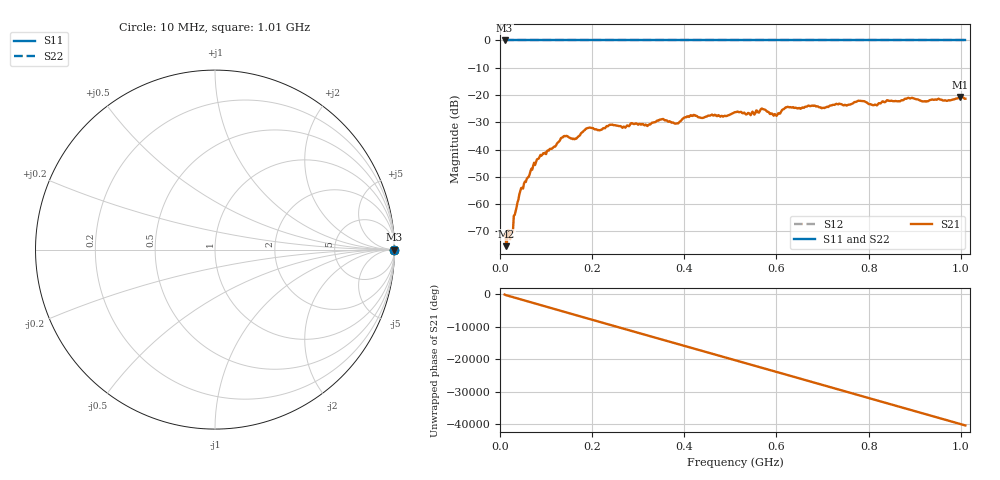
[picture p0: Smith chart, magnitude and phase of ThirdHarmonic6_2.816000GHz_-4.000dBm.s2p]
! 8/17/2025 7:25:21 AM
! C:\ANRITSUVNA\TEMP\TEMP.S2P
! CHANNEL.1
! TR.MEASUREMENT
! RAW.DATA
! RF.CORRECTION.OFF
! AVERAGING.OFF
! IF.BANDWIDTH: 5KHZ
! SWEEPTYPE:  FREQ.SWEEP(Linear)
! Reference Plane Port Info
! PORT:  PORT1  PORT2
! DISTANCE:  0  m  0  m
! TIME:  0  s  0  s
! PHASE.OFFSET:  0  deg.  0  deg.
! LOSS:  0  dB  0  dB
! REF.LOSS:  0  dB  0  dB
! REF.FREQ:  0  Hz  0  Hz
! Power Info
! POWER:  -20  dBm  -20  dBm
! EFF.POWER:  -20  dBm  -20  dBm
! SOURCE.ATTEN:  0  dB  0  dB
! TEST.ATTEN:  0  dB  0  dB
# GHZ S RI R 50.0
! FREQ.GHZ  S11RE  S11IM  S21RE  S21IM  S12RE  S12IM  S22RE  S22IM
!; PortSelection: Port_12
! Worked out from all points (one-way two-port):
!   501 points, 10 MHz to 1.01 GHz, reference 50 ohm
!   highest |S21| = -20.73 dB at 998 MHz (marker M1); lowest = -75.4 dB at 14 MHz (marker M2)
!   lowest |S11| = 0.0 dB at 10 MHz (marker M3)
!   |S11| at or under -10 dB: nowhere
!   |S22| runs from 0.0 to 0.0 dB; largest |S21 - S12| = 1.1
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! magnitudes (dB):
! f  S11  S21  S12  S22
! 10 MHz  0.0  -71.0  0.0  0.0
! 14 MHz  0.0  -75.4  0.0  0.0
! 24 MHz  0.0  -69.8  0.0  0.0
! 44 MHz  0.0  -55.2  0.0  0.0
! 84 MHz  0.0  -43.3  0.0  0.0
! 136 MHz  0.0  -35.6  0.0  0.0
! 162 MHz  0.0  -36.2  0.0  0.0
! 178 MHz  0.0  -33.7  0.0  0.0
! 192 MHz  0.0  -32.1  0.0  0.0
! 322 MHz  0.0  -31.0  0.0  0.0
! 344 MHz  0.0  -29.4  0.0  0.0
! 384 MHz  0.0  -30.4  0.0  0.0
! 418 MHz  0.0  -27.7  0.0  0.0
! 510 MHz  0.0  -26.3  0.0  0.0
! 570 MHz  0.0  -25.1  0.0  0.0
! 598 MHz  0.0  -27.2  0.0  0.0
! 622 MHz  0.0  -24.5  0.0  0.0
! 678 MHz  0.0  -23.9  0.0  0.0
! 814 MHz  0.0  -23.5  0.0  0.0
! 844 MHz  0.0  -22.1  0.0  0.0
! 998 MHz  0.0  -20.7  0.0  0.0
! 1.01 GHz  0.0  -21.4  0.0  0.0
